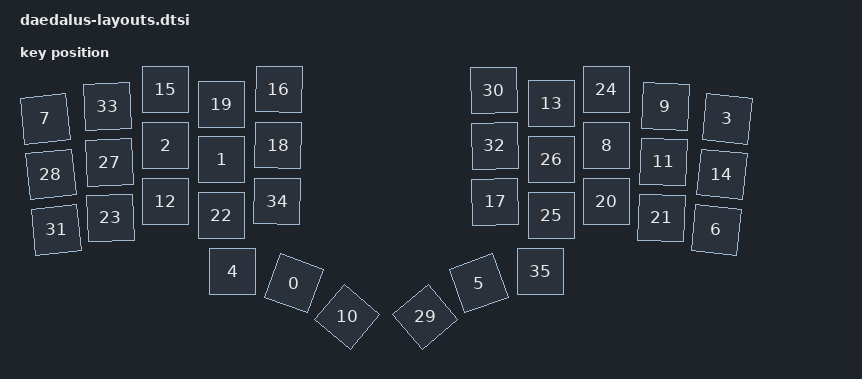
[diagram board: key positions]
#include <physical_layouts.dtsi>
#include "daedalus-layouts.dtsi"

/ {
    physical_layout0: physical_layout_0 {
        compatible = "zmk,physical-layout";
        display-name = "LAYOUT";

        kscan = <&kscan0>;
        transform = <&matrix_transform0>;

        keys  //                     w   h    x    y     rot    rx    ry
            = <&key_physical_attrs 100 100  497  388    2000   547   438>
            , <&key_physical_attrs 100 100  353  141       0     0     0>
            , <&key_physical_attrs 100 100  241  112       0     0     0>
            , <&key_physical_attrs 100 100 1364   59     600  1414   109>
            , <&key_physical_attrs 100 100  375  365       0     0     0>
            , <&key_physical_attrs 100 100  867  388 (-2000)   917   439>
            , <&key_physical_attrs 100 100 1342  281     600  1392   331>
            , <&key_physical_attrs 100 100    0   59  (-600)    50   109>
            , <&key_physical_attrs 100 100 1123  112       0     0     0>
            , <&key_physical_attrs 100 100 1240   34     200  1290    84>
            , <&key_physical_attrs 100 100  604  455    4000   654   505>
            , <&key_physical_attrs 100 100 1237  145     200  1287   195>
            , <&key_physical_attrs 100 100  241  224       0     0     0>
            , <&key_physical_attrs 100 100 1012   29       0     0     0>
            , <&key_physical_attrs 100 100 1353  170     600  1403   220>
            , <&key_physical_attrs 100 100  241    0       0     0     0>
            , <&key_physical_attrs 100 100  467    0     100   517    50>
            , <&key_physical_attrs 100 100  900  225  (-100)   950   275>
            , <&key_physical_attrs 100 100  466  112     100   516   162>
            , <&key_physical_attrs 100 100  353   30       0     0     0>
            , <&key_physical_attrs 100 100 1123  224       0     0     0>
            , <&key_physical_attrs 100 100 1233  257     200  1283   307>
            , <&key_physical_attrs 100 100  353  253       0     0     0>
            , <&key_physical_attrs 100 100  131  257  (-200)   181   307>
            , <&key_physical_attrs 100 100 1123    0       0     0     0>
            , <&key_physical_attrs 100 100 1012  253       0     0     0>
            , <&key_physical_attrs 100 100 1012  141       0     0     0>
            , <&key_physical_attrs 100 100  128  146  (-200)   178   196>
            , <&key_physical_attrs 100 100   11  170  (-600)    61   220>
            , <&key_physical_attrs 100 100  760  455 (-4000)   810   505>
            , <&key_physical_attrs 100 100  897    2  (-100)   947    52>
            , <&key_physical_attrs 100 100   22  281  (-600)    72   331>
            , <&key_physical_attrs 100 100  899  113  (-100)   949   163>
            , <&key_physical_attrs 100 100  124   34  (-200)   174    84>
            , <&key_physical_attrs 100 100  464  224     100   514   274>
            , <&key_physical_attrs 100 100  990  365       0     0     0>
            ;
    };
};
